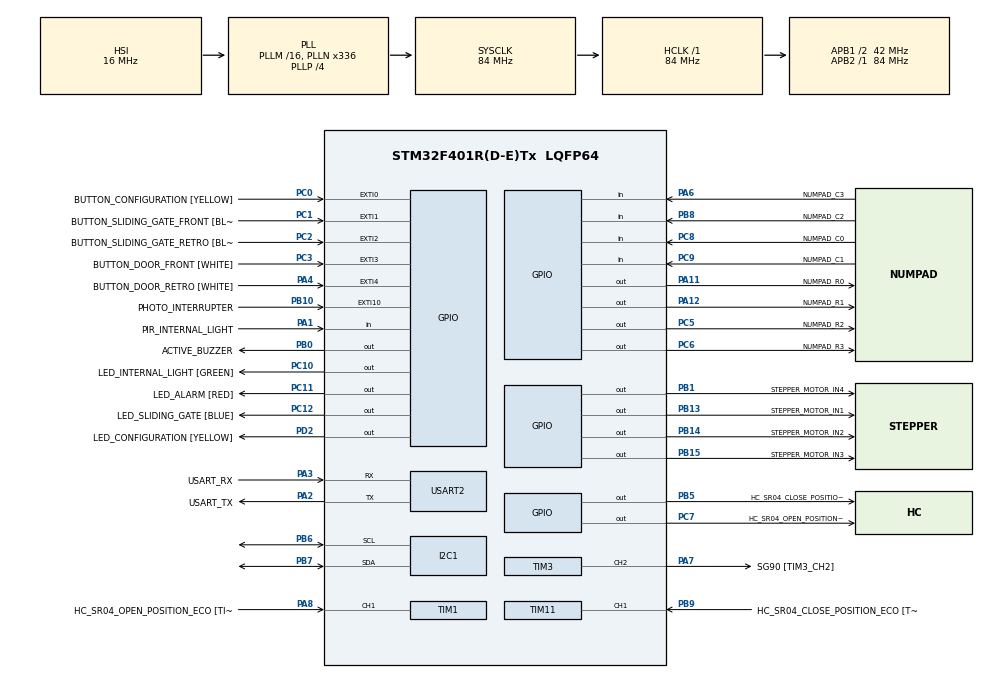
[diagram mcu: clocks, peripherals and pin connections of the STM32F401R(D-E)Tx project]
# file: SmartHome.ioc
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Mcu.Family=STM32F4
Mcu.Name=STM32F401R(D-E)Tx
Mcu.Package=LQFP64
NVIC.EXTI0_IRQn=true\:0\:0\:false\:false\:true\:true\:true\:true
NVIC.EXTI15_10_IRQn=true\:0\:0\:false\:false\:true\:true\:true\:true
NVIC.EXTI1_IRQn=true\:0\:0\:false\:false\:true\:true\:true\:true
NVIC.EXTI2_IRQn=true\:0\:0\:false\:false\:true\:true\:true\:true
NVIC.EXTI3_IRQn=true\:0\:0\:false\:false\:true\:true\:true\:true
NVIC.EXTI4_IRQn=true\:0\:0\:false\:false\:true\:true\:true\:true
NVIC.PriorityGroup=NVIC_PRIORITYGROUP_0
NVIC.TIM1_BRK_TIM9_IRQn=true\:0\:0\:false\:false\:true\:true\:true\:true
NVIC.TIM1_CC_IRQn=true\:0\:0\:false\:false\:true\:true\:true\:true
NVIC.TIM1_TRG_COM_TIM11_IRQn=true\:0\:0\:false\:false\:true\:true\:true\:true
NVIC.TIM1_UP_TIM10_IRQn=true\:0\:0\:false\:false\:true\:true\:true\:true
NVIC.TIM3_IRQn=true\:0\:0\:false\:false\:true\:true\:true\:true
NVIC.TIM4_IRQn=true\:0\:0\:false\:false\:true\:true\:true\:true
NVIC.TIM5_IRQn=true\:0\:0\:false\:false\:true\:true\:true\:true
NVIC.USART2_IRQn=true\:0\:0\:false\:false\:true\:true\:true\:true
PA1.GPIO_Label=PIR_INTERNAL_LIGHT
PA1.Signal=GPIO_Input
PA11.GPIO_Label=NUMPAD_R0
PA11.Signal=GPIO_Output
PA12.GPIO_Label=NUMPAD_R1
PA12.Signal=GPIO_Output
PA13.GPIO_Label=TMS
PA13.Mode=Serial_Wire
PA13.Signal=SYS_JTMS-SWDIO
PA14.GPIO_Label=TCK
PA14.Mode=Serial_Wire
PA14.Signal=SYS_JTCK-SWCLK
PA2.GPIO_Label=USART_TX
PA2.GPIO_Mode=GPIO_MODE_AF_PP
PA2.GPIO_PuPd=GPIO_NOPULL
PA2.GPIO_Speed=GPIO_SPEED_FREQ_LOW
PA2.Mode=Asynchronous
PA2.Signal=USART2_TX
PA3.GPIO_Label=USART_RX
PA3.GPIO_Mode=GPIO_MODE_AF_PP
PA3.GPIO_PuPd=GPIO_NOPULL
PA3.GPIO_Speed=GPIO_SPEED_FREQ_LOW
PA3.Mode=Asynchronous
PA3.Signal=USART2_RX
PA4.GPIO_Label=BUTTON_DOOR_RETRO [WHITE]
PA4.GPIO_PuPd=GPIO_PULLDOWN
PA4.Signal=GPXTI4
PA6.GPIO_Label=NUMPAD_C3
PA6.GPIO_PuPd=GPIO_PULLUP
PA6.Signal=GPIO_Input
PA7.GPIO_Label=SG90 [TIM3_CH2]
PA7.Signal=S_TIM3_CH2
PA8.GPIO_Label=HC_SR04_OPEN_POSITION_ECO [TIM1_CH1]
PA8.Signal=S_TIM1_CH1
PB0.GPIO_Label=ACTIVE_BUZZER
PB0.Signal=GPIO_Output
PB1.GPIO_Label=STEPPER_MOTOR_IN4
PB1.Signal=GPIO_Output
PB10.GPIO_Label=PHOTO_INTERRUPTER
PB10.Signal=GPXTI10
PB13.GPIO_Label=STEPPER_MOTOR_IN1
PB13.Signal=GPIO_Output
PB14.GPIO_Label=STEPPER_MOTOR_IN2
PB14.Signal=GPIO_Output
PB15.GPIO_Label=STEPPER_MOTOR_IN3
PB15.Signal=GPIO_Output
PB3.GPIO_Label=SWO
PB3.Signal=SYS_JTDO-SWO
PB5.GPIO_Label=HC_SR04_CLOSE_POSITION_TRIGGER
PB5.Signal=GPIO_Output
PB6.Mode=I2C
PB6.Signal=I2C1_SCL
PB7.Mode=I2C
PB7.Signal=I2C1_SDA
PB8.GPIO_Label=NUMPAD_C2
PB8.GPIO_PuPd=GPIO_PULLUP
PB8.Signal=GPIO_Input
PB9.GPIO_Label=HC_SR04_CLOSE_POSITION_ECO [TIM11_CH1]
PB9.Signal=S_TIM11_CH1
PC0.GPIO_Label=BUTTON_CONFIGURATION [YELLOW]
PC0.GPIO_PuPd=GPIO_PULLDOWN
PC0.Signal=GPXTI0
PC1.GPIO_Label=BUTTON_SLIDING_GATE_FRONT [BLUE]
PC1.GPIO_PuPd=GPIO_PULLDOWN
PC1.Signal=GPXTI1
PC10.GPIO_Label=LED_INTERNAL_LIGHT [GREEN]
PC10.Signal=GPIO_Output
PC11.GPIO_Label=LED_ALARM [RED]
PC11.Signal=GPIO_Output
PC12.GPIO_Label=LED_SLIDING_GATE [BLUE]
PC12.Signal=GPIO_Output
PC14-OSC32_IN.Mode=LSE-External-Oscillator
PC14-OSC32_IN.Signal=RCC_OSC32_IN
PC15-OSC32_OUT.Mode=LSE-External-Oscillator
PC15-OSC32_OUT.Signal=RCC_OSC32_OUT
PC2.GPIO_Label=BUTTON_SLIDING_GATE_RETRO [BLUE]
PC2.GPIO_PuPd=GPIO_PULLDOWN
PC2.Signal=GPXTI2
PC3.GPIO_Label=BUTTON_DOOR_FRONT [WHITE]
PC3.GPIO_PuPd=GPIO_PULLDOWN
PC3.Signal=GPXTI3
PC5.GPIO_Label=NUMPAD_R2
PC5.Signal=GPIO_Output
PC6.GPIO_Label=NUMPAD_R3
PC6.Signal=GPIO_Output
PC7.GPIO_Label=HC_SR04_OPEN_POSITION_TRIGGER
PC7.Signal=GPIO_Output
PC8.GPIO_Label=NUMPAD_C0
PC8.GPIO_PuPd=GPIO_PULLUP
PC8.Signal=GPIO_Input
PC9.GPIO_Label=NUMPAD_C1
PC9.GPIO_PuPd=GPIO_PULLUP
PC9.Signal=GPIO_Input
PD2.GPIO_Label=LED_CONFIGURATION [YELLOW]
PD2.Signal=GPIO_Output
PH0\ -\ OSC_IN.Mode=HSE-External-Clock-Source
PH0\ -\ OSC_IN.Signal=RCC_OSC_IN
PH1\ -\ OSC_OUT.Mode=HSE-External-Clock-Source
PH1\ -\ OSC_OUT.Signal=RCC_OSC_OUT
ProjectManager.HeapSize=0x200
ProjectManager.StackSize=0x400
ProjectManager.TargetToolchain=STM32CubeIDE
RCC.48MHZClocksFreq_Value=48000000
RCC.AHBFreq_Value=84000000
RCC.APB1CLKDivider=RCC_HCLK_DIV2
RCC.APB1Freq_Value=42000000
RCC.APB1TimFreq_Value=84000000
RCC.APB2Freq_Value=84000000
RCC.APB2TimFreq_Value=84000000
RCC.CortexFreq_Value=84000000
RCC.HCLKFreq_Value=84000000
RCC.HSE_VALUE=8000000
RCC.HSI_VALUE=16000000
RCC.PLLN=336
RCC.PLLP=RCC_PLLP_DIV4
RCC.PLLQ=7
RCC.RCC_RTC_Clock_Source=RCC_RTCCLKSOURCE_LSI
RCC.RCC_RTC_Clock_SourceVirtual=RCC_RTCCLKSOURCE_LSI
RCC.SYSCLKFreq_VALUE=84000000
RCC.SYSCLKSource=RCC_SYSCLKSOURCE_PLLCLK
RCC.VCOOutputFreq_Value=336000000
SH.S_TIM11_CH1.0=TIM11_CH1,Input_Capture1_from_TI1
SH.S_TIM1_CH1.0=TIM1_CH1,Input_Capture1_from_TI1
SH.S_TIM3_CH2.0=TIM3_CH2,PWM Generation2 CH2
TIM1.Channel-Input_Capture1_from_TI1=TIM_CHANNEL_1
TIM1.Prescaler=84-1
TIM10.Period=60000-1
TIM10.Prescaler=8400-1
TIM11.Channel=TIM_CHANNEL_1
TIM11.Prescaler=84-1
TIM3.Channel-PWM\ Generation2\ CH2=TIM_CHANNEL_2
TIM3.Period=20000-1
TIM3.Prescaler=84-1
TIM4.Period=60000-1
TIM4.Prescaler=8400-1
TIM5.Period=10000000-1
TIM5.Prescaler=84-1
TIM9.Period=1220-1
TIM9.Prescaler=84-1
USART2.VirtualMode=VM_ASYNC
VP_TIM10_VS_ClockSourceINT.Mode=Enable_Timer
VP_TIM11_VS_ClockSourceINT.Mode=Enable_Timer
VP_TIM1_VS_ClockSourceINT.Mode=Internal
VP_TIM4_VS_ClockSourceINT.Mode=Internal
VP_TIM5_VS_ClockSourceINT.Mode=Internal
VP_TIM9_VS_ClockSourceINT.Mode=Internal
board=NUCLEO-F401RE

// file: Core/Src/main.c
/* USER CODE BEGIN Header */
/**
 ******************************************************************************
 * @file           : main.c
 * @brief          : Main program body
 ******************************************************************************
 * @attention
 *
 * Copyright (c) 2023 STMicroelectronics.
 * All rights reserved.
 *
 * This software is licensed under terms that can be found in the LICENSE file
 * in the root directory of this software component.
 * If no LICENSE file comes with this software, it is provided AS-IS.
 *
 ******************************************************************************
 */
/* USER CODE END Header */
#include "main.h"

/* USER CODE BEGIN Includes */
#include "i2c-lcd.h"
#include "KeyPad.h"
#include <string.h>
#include <stdio.h>
/* USER CODE END Includes */

I2C_HandleTypeDef hi2c1;

TIM_HandleTypeDef htim1;
TIM_HandleTypeDef htim3;
TIM_HandleTypeDef htim4;
TIM_HandleTypeDef htim5;
TIM_HandleTypeDef htim9;
TIM_HandleTypeDef htim10;
TIM_HandleTypeDef htim11;

UART_HandleTypeDef huart2;

/* USER CODE BEGIN PV */
//hi2c1 --> i2c display
//htim1 (ch1) --> ic hcsr04 apertura
//htim3 (ch2) --> pwm servo motore
//htim4 --> timer cancello
//htim5 --> timer luce interna
//htim9 --> timer motore stepper
//htim10 --> timer porta
//htim11 (ch1) --> ic hcsr04 chiusura

/* VARIABILI NUMERICHE */
/* TIMER */
#define FROM_SECOND_TO_MICROSECOND 1000000
#define FROM_SECOND_TO_DECIMILLISECOND 10000
#define AUTORELOAD_SERVO_MOTOR 500 //(dms)
#define PERIOD_DISPLAY_INATTIVO 500 //(ms)
#define PERIOD_DISPLAY_CONFIGURAZIONE 2000 //(ms)
int time_open_sliding_gate = 6;	//s
int time_open_door = 6;	//s
int time_on_internal_light = 10;	//s
uint32_t start_timer_display = 0;

//NUMPAD
#define password_length 4
char password[] = {'1', '5', '9', 'D'};
char password_inserita[password_length];
int index_password_inserita = 0;
#define data_lenght 2
char configurazione_inserita[data_lenght];
char single_configuration;
int index_configurazione_inserita = 0;

//SLIDING GATE
int stepsperrev;
int numofsequence;
float angleperseq;
float angle;
int rpm;
int numberofsequences;
int seq;
int step;
int direction;

//HCSR04
uint32_t ic_val1_close_position = 0;
uint32_t ic_val2_close_position = 0;
uint8_t is_first_captured_close_position = 0;
uint8_t distance_close_position = 7;
uint32_t ic_val1_open_position = 0;
uint32_t ic_val2_open_position = 0;
uint8_t is_first_captured_open_position = 0;
uint8_t distance_open_position = 7;

/* VARIABILI DI STATO */
//NUMPAD
typedef enum {
	INATTIVO,
	CONFIGURAZIONE,
	ALLARME,
	CONFIGURAZIONE_CANCELLO,
	CONFIGURAZIONE_LUCE,
	CONFIGURAZIONE_PORTA,
	END_CONFIGURAZIONE
} numpad_state;
numpad_state numpad = INATTIVO;

//LED
typedef enum {
	SPENTO,
	ACCESO
} led_state;
led_state internal_light = SPENTO;

//ALARM
typedef enum {
	ALARM_SPENTO,
	ALARM_DISATTIVO,
	ALARM_ATTIVO
} alarm_state;
alarm_state alarm = ALARM_DISATTIVO;

//DOOR
typedef enum {
	SERVO_CHIUSO,
	SERVO_APERTURA,
	SERVO_APERTO,
	SERVO_CHIUSURA
} door_state;
door_state door = SERVO_CHIUSO;

//SLIDING GATE
typedef enum {
	CHIUSO,
	IN_APERTURA,
	APERTO,
	IN_CHIUSURA
} sliding_gate_state;
sliding_gate_state sliding_gate = CHIUSO;

//HCSR04
typedef enum {
	DELAY,
	MISURA
} hc_sr04_state;
hc_sr04_state hc_sr04_close_position = DELAY;
hc_sr04_state hc_sr04_open_position = DELAY;

typedef enum {
	SETUP,
	TIMER
}timer_state;
timer_state timer_1 = SETUP;
timer_state timer_4 = SETUP;
timer_state timer_5 = SETUP;
timer_state timer_9 = SETUP;
timer_state timer_10 = SETUP;
timer_state timer_11 = SETUP;

/* VARIABILI UART */
//numero di byte scambiati per pacchetto
#define num_byte 7

//char inviati
#define sof 'a'
#define eof 'r'
#define padding 's'

#define get_info 'b'
#define send_value 'c'
#define set_parameter 'd'

#define cancello 'e'
#define luce_interna 'g'
#define porta 'i'
#define allarme 'j'
#define configurazione_cancello 'l'
#define configurazione_luce_interna 'n'
#define configurazione_porta 'o'

typedef enum {
	IN_ATTESA_SOF,
	IN_ATTESA_OPERAZIONE,
	IN_ATTESA_IDENTIFICATIVO,
	IN_ATTESA_VALORE_1,
	IN_ATTESA_VALORE_2,
	IN_ATTESA_VALORE_3,
	IN_ATTESA_EOF
} uart_state;
uart_state uart = IN_ATTESA_SOF;

char send_byte[num_byte];
char receive_byte[num_byte];
int index_byte = 0;

uint8_t data_received;
/* USER CODE END PV */

void SystemClock_Config(void);
static void MX_GPIO_Init(void);
static void MX_USART2_UART_Init(void);
static void MX_I2C1_Init(void);
static void MX_TIM1_Init(void);
static void MX_TIM3_Init(void);
static void MX_TIM4_Init(void);
static void MX_TIM5_Init(void);
static void MX_TIM9_Init(void);
static void MX_TIM10_Init(void);
static void MX_TIM11_Init(void);
/* USER CODE BEGIN PFP */
/* INIZIALIZZAZIONE */
void init_peripherals();
void init_lcd();
void init_keypad();
void init_step_motor();
/* DISPLAY */
void set_display_configuration();
void set_display_state();
/* NUMPAD */
void read_keypad();
void keypad_alarm();
void keypad_configuration();
void keypad_sliding_gate();
void keypad_internal_light();
void keypad_door();
void switch_to_inattivo();
/* ELABORAZIONE */
void open_door();
void process_door();
void stepper_half_drive (int actual_step);
void HCSR04_Read (GPIO_TypeDef* GPIOx, uint16_t GPIO_Pin);
void open_sliding_gate();
void close_sliding_gate();
void stop_sliding_gate();
void start_closing_sliding_gate();
void change_direction_sliding_gate();
void start_sampling_hcsr04(TIM_HandleTypeDef* htim);
void led_on();
void led_off();
void alarm_on();
void alarm_off();
/* TIMER */
void start_timer(TIM_HandleTypeDef* htim);
void stop_timer(TIM_HandleTypeDef* htim);
void set_autoreload(TIM_HandleTypeDef* htim, uint32_t autoreload);
void change_autoreload_timer_start(TIM_HandleTypeDef* htim, uint32_t autoreload);
void set_pwm(TIM_HandleTypeDef* htim, int update, uint32_t pwm);
/* UART */
void prepare_data_sliding_gate(char operazione);
void prepare_data_internal_light(char operazione);
void prepare_data_door(char operazione);
void prepare_data_alarm(char operazione);
void prepare_data_configuration_sliding_gate(char operazione);
void prepare_data_configuration_internal_light(char operazione);
void prepare_data_configuration_door(char operazione);
void send_data();
int process_data(char c);
/* USER CODE END PFP */

/* USER CODE BEGIN 0 */
void set_display_configuration() {
	lcd_clear();
	lcd_put_cur(0, 0);
	lcd_send_string("C:1 L:2 P:3 A:4");
	lcd_put_cur(1, 0);
	lcd_send_string("ESC:7");
	HAL_GPIO_WritePin(LED_CONFIGURATION_GPIO_Port, LED_CONFIGURATION_Pin, GPIO_PIN_SET);
}

void set_display_state() {
	lcd_clear();
	lcd_put_cur(0, 0);
	lcd_send_string("C:");
	switch(sliding_gate){
	case SPENTO:
		lcd_send_data('0');
		break;
	case ACCESO:
		lcd_send_data('1');
		break;
	case APERTO:
		lcd_send_data('2');
		break;
	case IN_CHIUSURA:
		lcd_send_data('3');
		break;
	}
	lcd_send_string(" P:");
	switch(door){
	case SERVO_CHIUSO:
		lcd_send_data('0');
		break;
	case SERVO_APERTO:
		lcd_send_data('1');
		break;
	case SERVO_APERTURA:
	case SERVO_CHIUSURA:
		break;
	}
	lcd_send_string(" A:");
	switch(alarm){
	case ALARM_SPENTO:
		lcd_send_data('0');
		break;
	case ALARM_DISATTIVO:
		lcd_send_data('1');
		break;
	case ALARM_ATTIVO:
		lcd_send_data('2');
		break;
	}
	lcd_put_cur(1, 0);
	lcd_send_string("L:");
	switch(internal_light){
	case SPENTO:
		lcd_send_data('0');
		break;
	case ACCESO:
		lcd_send_data('1');
		break;
	}
}

void read_keypad() {
	switch(numpad) {
	case ALLARME:
		keypad_alarm();
		break;
	case CONFIGURAZIONE:
		keypad_configuration();
		break;
	case CONFIGURAZIONE_CANCELLO:
		keypad_sliding_gate();
		break;
	case CONFIGURAZIONE_LUCE:
		keypad_internal_light();
		break;
	case CONFIGURAZIONE_PORTA:
		keypad_door();
		break;
	case INATTIVO:
	case END_CONFIGURAZIONE:
		break;
	}
}

void keypad_alarm() {
	lcd_clear();
	lcd_put_cur(0, 0);
	lcd_send_string("PIN: ");
	for (int i = 0; i < index_password_inserita; i++) {
		lcd_send_data('*');
	}
	char c = KeyPad_WaitForKeyGetChar(0);
	if (c != 0) {
		if (numpad == ALLARME) {
			lcd_send_data(c);
			if (index_password_inserita < password_length) {
				password_inserita[index_password_inserita] = c;
				index_password_inserita++;
			}
			if (index_password_inserita == password_length) {
				if (strncmp(password, password_inserita, password_length) == 0) {
					if (alarm == ALARM_ATTIVO || alarm == ALARM_DISATTIVO) {
						alarm_off();
					} else {
						if (alarm == ALARM_SPENTO) {
							alarm_on();
						}
					}
					switch_to_inattivo();
				}
				for (int i = 0; i < password_length; i++) {
					password_inserita[i] = '\0';
				}
				index_password_inserita = 0;
			}
		}
	}
}

void keypad_configuration() {
	char c = KeyPad_WaitForKeyGetChar(0);
	switch (c) {
	case '1':
		numpad = CONFIGURAZIONE_CANCELLO;
		lcd_clear();
		lcd_put_cur(0, 0);
		lcd_send_string("1 - 6 s: ");
		lcd_put_cur(1, 0);
		break;
	case '2':
		numpad = CONFIGURAZIONE_LUCE;
		lcd_clear();
		lcd_put_cur(0, 0);
		lcd_send_string("10 - 60 s: ");
		lcd_put_cur(1, 0);
		break;
	case '3':
		numpad = CONFIGURAZIONE_PORTA;
		lcd_clear();
		lcd_put_cur(0, 0);
		lcd_send_string("1 - 6 s: ");
		lcd_put_cur(1, 0);
		break;
	case '4':
		numpad = ALLARME;
		lcd_clear();
		lcd_put_cur(0, 0);
		lcd_send_string("PIN: ");
		break;
	case '5':
		switch_to_inattivo();
	}
}

void keypad_sliding_gate() {
	char c = KeyPad_WaitForKeyGetChar(0);
	if (c != 0) {
		if (c >= '1' && c <= '6') {
			time_open_sliding_gate = c - '0';
			set_autoreload(&htim4, time_open_sliding_gate * FROM_SECOND_TO_DECIMILLISECOND);
			lcd_clear();
			lcd_put_cur(0, 0);
			lcd_send_string("C_N: ");
			lcd_send_data(c);
			numpad = END_CONFIGURAZIONE;
			start_timer_display = HAL_GetTick();
			prepare_data_configuration_sliding_gate(set_parameter);
		} else {
			switch_to_inattivo();
		}
	}
}

void keypad_internal_light() {
	char c = KeyPad_WaitForKeyGetChar(0);
	if (c != 0) {
		lcd_send_data(c);
		if (index_configurazione_inserita < data_lenght) {
			configurazione_inserita[index_configurazione_inserita] = c;
			index_configurazione_inserita++;
		}
		if (index_configurazione_inserita == 2) {
			if (configurazione_inserita[0] >= '1' && configurazione_inserita[0] <= '5') {
				if (configurazione_inserita[1] >= '0' && configurazione_inserita[1] <= '9') {
					time_on_internal_light = (configurazione_inserita[0] - '0') * 10 + (configurazione_inserita[1] - '0');
					set_autoreload(&htim5, time_on_internal_light * FROM_SECOND_TO_MICROSECOND);
					lcd_clear();
					lcd_put_cur(0, 0);
					lcd_send_string("L_N: ");
					lcd_send_data(configurazione_inserita[0]);
					lcd_send_data(configurazione_inserita[1]);
					numpad = END_CONFIGURAZIONE;
					start_timer_display = HAL_GetTick();
					prepare_data_configuration_internal_light(set_parameter);
				} else {
					switch_to_inattivo();
				}
			} else {
				if (configurazione_inserita[0] == '6') {
					if (configurazione_inserita[1] == '0') {
						time_on_internal_light = (configurazione_inserita[0] - '0') * 10 + (configurazione_inserita[1] - '0');
						set_autoreload(&htim5, time_on_internal_light * FROM_SECOND_TO_MICROSECOND);
						lcd_clear();
						lcd_put_cur(0, 0);
						lcd_send_string("L_N: ");
						lcd_send_data(configurazione_inserita[0]);
						lcd_send_data(configurazione_inserita[1]);
						numpad = END_CONFIGURAZIONE;
						start_timer_display = HAL_GetTick();
						prepare_data_configuration_internal_light(set_parameter);
					} else {
						switch_to_inattivo();
					}
				} else {
					switch_to_inattivo();
				}
			}
			for (int i = 0; i < data_lenght; i++) {
				configurazione_inserita[i] = '\0';
			}
			index_configurazione_inserita = 0;
		}
	}
}

void keypad_door() {
	char c = KeyPad_WaitForKeyGetChar(0);
	if (c != 0) {
		if (c >= '1' && c <= '6') {
			time_open_door = c - '0';
			lcd_clear();
			lcd_put_cur(0, 0);
			lcd_send_string("P_N: ");
			lcd_send_data(c);
			numpad = END_CONFIGURAZIONE;
			start_timer_display = HAL_GetTick();
			prepare_data_configuration_door(set_parameter);
		} else {
			switch_to_inattivo();
		}
	}
}

void switch_to_inattivo() {
	numpad = INATTIVO;
	lcd_clear();
	lcd_put_cur(0, 0);
	HAL_GPIO_WritePin(LED_CONFIGURATION_GPIO_Port, LED_CONFIGURATION_Pin, GPIO_PIN_RESET);
}

void open_door() {
	if (door == SERVO_CHIUSO) {
		door = SERVO_APERTURA;
		start_timer(&htim3);
		set_pwm(&htim3, 0, 750);
		set_autoreload(&htim10, AUTORELOAD_SERVO_MOTOR);
		start_timer(&htim10);
	}
}

void process_door() {
	if (door == SERVO_APERTURA) {
		if (htim3.Instance->CCR2 == 1500) {
			door = SERVO_APERTO;
			change_autoreload_timer_start(&htim10, time_open_door * FROM_SECOND_TO_DECIMILLISECOND);
			prepare_data_door(send_value);
		} else {
			set_pwm(&htim3, 1, 250);
		}
	} else {
		if (door == SERVO_APERTO) {
			door = SERVO_CHIUSURA;
			change_autoreload_timer_start(&htim10, AUTORELOAD_SERVO_MOTOR);
			set_pwm(&htim3, 0, 1250);
		} else {
			if (door == SERVO_CHIUSURA) {
				if (htim3.Instance->CCR2 == 500) {
					stop_timer(&htim3);
					stop_timer(&htim10);
					door = SERVO_CHIUSO;
					prepare_data_door(send_value);
				} else {
					set_pwm(&htim3, 1, -250);
				}
			}
		}
	}
}

void stepper_half_drive (int actual_step) {
	switch (actual_step){
	case 0:
		HAL_GPIO_WritePin(STEPPER_MOTOR_IN1_GPIO_Port, STEPPER_MOTOR_IN1_Pin, GPIO_PIN_SET);   // IN1
		HAL_GPIO_WritePin(STEPPER_MOTOR_IN2_GPIO_Port, STEPPER_MOTOR_IN2_Pin, GPIO_PIN_RESET);   // IN2
		HAL_GPIO_WritePin(STEPPER_MOTOR_IN3_GPIO_Port, STEPPER_MOTOR_IN3_Pin, GPIO_PIN_RESET);   // IN3
		HAL_GPIO_WritePin(STEPPER_MOTOR_IN4_GPIO_Port, STEPPER_MOTOR_IN4_Pin, GPIO_PIN_RESET);   // IN4
		break;

	case 1:
		HAL_GPIO_WritePin(STEPPER_MOTOR_IN1_GPIO_Port, STEPPER_MOTOR_IN1_Pin, GPIO_PIN_SET);   // IN1
		HAL_GPIO_WritePin(STEPPER_MOTOR_IN2_GPIO_Port, STEPPER_MOTOR_IN2_Pin, GPIO_PIN_SET);   // IN2
		HAL_GPIO_WritePin(STEPPER_MOTOR_IN3_GPIO_Port, STEPPER_MOTOR_IN3_Pin, GPIO_PIN_RESET);   // IN3
		HAL_GPIO_WritePin(STEPPER_MOTOR_IN4_GPIO_Port, STEPPER_MOTOR_IN4_Pin, GPIO_PIN_RESET);   // IN4
		break;

	case 2:
		HAL_GPIO_WritePin(STEPPER_MOTOR_IN1_GPIO_Port, STEPPER_MOTOR_IN1_Pin, GPIO_PIN_RESET);   // IN1
		HAL_GPIO_WritePin(STEPPER_MOTOR_IN2_GPIO_Port, STEPPER_MOTOR_IN2_Pin, GPIO_PIN_SET);   // IN2
		HAL_GPIO_WritePin(STEPPER_MOTOR_IN3_GPIO_Port, STEPPER_MOTOR_IN3_Pin, GPIO_PIN_RESET);   // IN3
		HAL_GPIO_WritePin(STEPPER_MOTOR_IN4_GPIO_Port, STEPPER_MOTOR_IN4_Pin, GPIO_PIN_RESET);   // IN4
		break;

	case 3:
		HAL_GPIO_WritePin(STEPPER_MOTOR_IN1_GPIO_Port, STEPPER_MOTOR_IN1_Pin, GPIO_PIN_RESET);   // IN1
		HAL_GPIO_WritePin(STEPPER_MOTOR_IN2_GPIO_Port, STEPPER_MOTOR_IN2_Pin, GPIO_PIN_SET);   // IN2
		HAL_GPIO_WritePin(STEPPER_MOTOR_IN3_GPIO_Port, STEPPER_MOTOR_IN3_Pin, GPIO_PIN_SET);   // IN3
		HAL_GPIO_WritePin(STEPPER_MOTOR_IN4_GPIO_Port, STEPPER_MOTOR_IN4_Pin, GPIO_PIN_RESET);   // IN4
		break;

	case 4:
		HAL_GPIO_WritePin(STEPPER_MOTOR_IN1_GPIO_Port, STEPPER_MOTOR_IN1_Pin, GPIO_PIN_RESET);   // IN1
		HAL_GPIO_WritePin(STEPPER_MOTOR_IN2_GPIO_Port, STEPPER_MOTOR_IN2_Pin, GPIO_PIN_RESET);   // IN2
		HAL_GPIO_WritePin(STEPPER_MOTOR_IN3_GPIO_Port, STEPPER_MOTOR_IN3_Pin, GPIO_PIN_SET);   // IN3
		HAL_GPIO_WritePin(STEPPER_MOTOR_IN4_GPIO_Port, STEPPER_MOTOR_IN4_Pin, GPIO_PIN_RESET);   // IN4
		break;

	case 5:
		HAL_GPIO_WritePin(STEPPER_MOTOR_IN1_GPIO_Port, STEPPER_MOTOR_IN1_Pin, GPIO_PIN_RESET);   // IN1
		HAL_GPIO_WritePin(STEPPER_MOTOR_IN2_GPIO_Port, STEPPER_MOTOR_IN2_Pin, GPIO_PIN_RESET);   // IN2
		HAL_GPIO_WritePin(STEPPER_MOTOR_IN3_GPIO_Port, STEPPER_MOTOR_IN3_Pin, GPIO_PIN_SET);   // IN3
		HAL_GPIO_WritePin(STEPPER_MOTOR_IN4_GPIO_Port, STEPPER_MOTOR_IN4_Pin, GPIO_PIN_SET);   // IN4
		break;

	case 6:
		HAL_GPIO_WritePin(STEPPER_MOTOR_IN1_GPIO_Port, STEPPER_MOTOR_IN1_Pin, GPIO_PIN_RESET);   // IN1
		HAL_GPIO_WritePin(STEPPER_MOTOR_IN2_GPIO_Port, STEPPER_MOTOR_IN2_Pin, GPIO_PIN_RESET);   // IN2
		HAL_GPIO_WritePin(STEPPER_MOTOR_IN3_GPIO_Port, STEPPER_MOTOR_IN3_Pin, GPIO_PIN_RESET);   // IN3
		HAL_GPIO_WritePin(STEPPER_MOTOR_IN4_GPIO_Port, STEPPER_MOTOR_IN4_Pin, GPIO_PIN_SET);   // IN4
		break;

	case 7:
		HAL_GPIO_WritePin(STEPPER_MOTOR_IN1_GPIO_Port, STEPPER_MOTOR_IN1_Pin, GPIO_PIN_SET);   // IN1
		HAL_GPIO_WritePin(STEPPER_MOTOR_IN2_GPIO_Port, STEPPER_MOTOR_IN2_Pin, GPIO_PIN_RESET);   // IN2
		HAL_GPIO_WritePin(STEPPER_MOTOR_IN3_GPIO_Port, STEPPER_MOTOR_IN3_Pin, GPIO_PIN_RESET);   // IN3
		HAL_GPIO_WritePin(STEPPER_MOTOR_IN4_GPIO_Port, STEPPER_MOTOR_IN4_Pin, GPIO_PIN_SET);   // IN4
		break;
	}
	step += direction;
	if (direction == -1) {
		if (step == -1) {
			step = 7;
			seq++;
			if (seq == numberofsequences) {
				seq = 0;
			}
		}
	} else {
		if (direction == 1) {
			if (step == 8) {
				step = 0;
				seq++;
				if (seq == numberofsequences) {
					seq = 0;
				}
			}
		}
	}
}

void HCSR04_Read (GPIO_TypeDef* GPIOx, uint16_t GPIO_Pin)
{
	if (GPIOx == HC_SR04_CLOSE_POSITION_TRIGGER_GPIO_Port &&
			GPIO_Pin == HC_SR04_CLOSE_POSITION_TRIGGER_Pin) {
		HAL_GPIO_WritePin(HC_SR04_CLOSE_POSITION_TRIGGER_GPIO_Port, HC_SR04_CLOSE_POSITION_TRIGGER_Pin, GPIO_PIN_SET);  // pull the TRIG pin HIGH
		change_autoreload_timer_start(&htim1, 10);
	} else {
		if (GPIOx == HC_SR04_OPEN_POSITION_TRIGGER_GPIO_Port &&
				GPIO_Pin == HC_SR04_OPEN_POSITION_TRIGGER_Pin) {
			HAL_GPIO_WritePin(HC_SR04_OPEN_POSITION_TRIGGER_GPIO_Port, HC_SR04_OPEN_POSITION_TRIGGER_Pin, GPIO_PIN_SET);  // pull the TRIG pin HIGH
			change_autoreload_timer_start(&htim1, 10);
		}
	}
}

void open_sliding_gate() {
	if (sliding_gate == CHIUSO) {
		sliding_gate = IN_APERTURA;
		prepare_data_sliding_gate(send_value);
		HAL_GPIO_WritePin(LED_SLIDING_GATE_GPIO_Port, LED_SLIDING_GATE_Pin, GPIO_PIN_SET);
		step = 7;
		seq = 0;
		direction = -1;
		__HAL_TIM_SET_COUNTER(&htim9, 0);
		HAL_TIM_Base_Start_IT(&htim9);
		start_timer(&htim1);
		HCSR04_Read(HC_SR04_OPEN_POSITION_TRIGGER_GPIO_Port, HC_SR04_OPEN_POSITION_TRIGGER_Pin);
	}
}

void close_sliding_gate() {
	sliding_gate = APERTO;
	prepare_data_sliding_gate(send_value);
	stop_timer(&htim9);
	stop_timer(&htim1);
	hc_sr04_open_position = DELAY;
	start_timer(&htim4);
}

void stop_sliding_gate() {
	sliding_gate = CHIUSO;
	prepare_data_sliding_gate(send_value);
	stop_timer(&htim9);
	stop_timer(&htim11);
	hc_sr04_close_position = DELAY;
	HAL_GPIO_WritePin(LED_SLIDING_GATE_GPIO_Port, LED_SLIDING_GATE_Pin, GPIO_PIN_RESET);
}

void start_closing_sliding_gate() {
	sliding_gate = IN_CHIUSURA;
	prepare_data_sliding_gate(send_value);
	stop_timer(&htim4);
	step = 0;
	seq = 0;
	direction = 1;
	start_timer(&htim9);
	start_timer (&htim11);
	HCSR04_Read(HC_SR04_CLOSE_POSITION_TRIGGER_GPIO_Port, HC_SR04_CLOSE_POSITION_TRIGGER_Pin);
}

void change_direction_sliding_gate() {
	if (sliding_gate == IN_CHIUSURA) {
		sliding_gate = IN_APERTURA;
		prepare_data_sliding_gate(send_value);
		direction = -1;
		stop_timer(&htim11);
		hc_sr04_close_position = DELAY;
		start_timer(&htim1);
		HCSR04_Read(HC_SR04_OPEN_POSITION_TRIGGER_GPIO_Port, HC_SR04_OPEN_POSITION_TRIGGER_Pin);
	}
}

void start_sampling_hcsr04(TIM_HandleTypeDef* htim) {
	if (htim == &htim1) {
		if (hc_sr04_open_position == DELAY) {
			HAL_GPIO_WritePin(HC_SR04_OPEN_POSITION_TRIGGER_GPIO_Port, HC_SR04_OPEN_POSITION_TRIGGER_Pin, GPIO_PIN_RESET);
			__HAL_TIM_ENABLE_IT(&htim1, TIM_IT_CC1);
			change_autoreload_timer_start(&htim1, 0xffff-1);
			hc_sr04_open_position = MISURA;
		}
	} else {
		if (htim == &htim11) {
			if (hc_sr04_close_position == DELAY) {
				HAL_GPIO_WritePin(HC_SR04_CLOSE_POSITION_TRIGGER_GPIO_Port, HC_SR04_CLOSE_POSITION_TRIGGER_Pin, GPIO_PIN_RESET);
				__HAL_TIM_ENABLE_IT(&htim11, TIM_IT_CC1);
				change_autoreload_timer_start(&htim11, 0xffff-1);
				hc_sr04_close_position = MISURA;
			}
		}
	}
}

void led_on() {
	HAL_GPIO_WritePin(LED_INTERNAL_LIGHT_GPIO_Port, LED_INTERNAL_LIGHT_Pin, GPIO_PIN_SET);
	if (internal_light == SPENTO) {
		internal_light = ACCESO;
		prepare_data_internal_light(send_value);
		start_timer(&htim5);
	}
}

void led_off() {
	stop_timer(&htim5);
	HAL_GPIO_WritePin(LED_INTERNAL_LIGHT_GPIO_Port, LED_INTERNAL_LIGHT_Pin, GPIO_PIN_RESET);
	internal_light = SPENTO;
	prepare_data_internal_light(send_value);
}

void alarm_on() {
	alarm = ALARM_DISATTIVO;
	prepare_data_alarm(send_value);
	HAL_GPIO_WritePin(LED_ALARM_GPIO_Port, LED_ALARM_Pin, GPIO_PIN_SET);
}

void alarm_off() {
	alarm = SPENTO;
	prepare_data_alarm(send_value);
	HAL_GPIO_WritePin(ACTIVE_BUZZER_GPIO_Port, ACTIVE_BUZZER_Pin, GPIO_PIN_RESET);
	HAL_GPIO_WritePin(LED_ALARM_GPIO_Port, LED_ALARM_Pin, GPIO_PIN_RESET);
}

void start_timer(TIM_HandleTypeDef* htim) {
	if (htim == &htim3) {
		__HAL_TIM_SET_COUNTER(htim, 0);
		HAL_TIM_PWM_Start(htim, TIM_CHANNEL_2);
	} else {
		if (htim == &htim10 || htim == &htim5 || htim == &htim9 || htim == &htim4) {
			__HAL_TIM_SET_COUNTER(htim, 0);
			HAL_TIM_Base_Start_IT(htim);
		} else {
			if (htim == &htim1 || htim == &htim11) {
				HAL_TIM_Base_Start_IT(htim);
				HAL_TIM_IC_Start_IT(htim, TIM_CHANNEL_1);
			}
		}
	}
}

void stop_timer(TIM_HandleTypeDef* htim) {
	if (htim == &htim3) {
		HAL_TIM_PWM_Stop(htim, TIM_CHANNEL_2);
		__HAL_TIM_SET_COUNTER(htim, 0);
	} else {
		if (htim == &htim10 || htim == &htim5 || htim == &htim9 || htim == &htim4) {
			HAL_TIM_Base_Stop_IT(htim);
			__HAL_TIM_SET_COUNTER(htim, 0);
		} else {
			if (htim == &htim1 || htim == &htim11) {
				HAL_TIM_IC_Stop_IT(htim, TIM_CHANNEL_1);
				HAL_TIM_Base_Stop_IT(htim);
				__HAL_TIM_SET_COUNTER(htim, 0);
			}
		}
	}

}

void set_autoreload(TIM_HandleTypeDef* htim, uint32_t autoreload) {
	__HAL_TIM_SET_AUTORELOAD(htim, autoreload);
}

void change_autoreload_timer_start(TIM_HandleTypeDef* htim, uint32_t autoreload) {
	set_autoreload(htim, autoreload);
	__HAL_TIM_SET_COUNTER(htim, 0);
}

void set_pwm(TIM_HandleTypeDef* htim, int update, uint32_t pwm) {
	if (htim == &htim3) {
		if (update == 1) {
			htim->Instance->CCR2 += pwm;
		} else {
			if (update == 0) {
				htim->Instance->CCR2 = pwm;
			}
		}
	}
}

void prepare_data_sliding_gate(char operazione) {
	send_byte[0] = sof;
	send_byte[1] = operazione;
	send_byte[2] = cancello;
	if (sliding_gate == CHIUSO) {
		send_byte[3] = '0';
	} else {
		if (sliding_gate == IN_APERTURA) {
			send_byte[3] = '1';
		} else {
			if (sliding_gate == APERTO) {
				send_byte[3] = '2';
			} else {
				if (sliding_gate == IN_CHIUSURA) {
					send_byte[3] = '3';
				}
			}
		}
	}
	send_byte[4] = padding;
	send_byte[5] = padding;
	send_byte[6] = eof;

	send_data();
}

void prepare_data_internal_light(char operazione) {
	send_byte[0] = sof;
	send_byte[1] = operazione;
	send_byte[2] = luce_interna;
	if (internal_light == SPENTO) {
		send_byte[3] = '0';
	} else {
		if (internal_light == ACCESO) {
			send_byte[3] = '1';
		}
	}
	send_byte[4] = padding;
	send_byte[5] = padding;
	send_byte[6] = eof;

	send_data();
}

void prepare_data_door(char operazione) {
	send_byte[0] = sof;
	send_byte[1] = operazione;
	send_byte[2] = porta;
	if (door == SERVO_CHIUSO) {
		send_byte[3] = '0';
	} else {
		if (door == SERVO_APERTO) {
			send_byte[3] = '1';
		}
	}
	send_byte[4] = padding;
	send_byte[5] = padding;
	send_byte[6] = eof;

	send_data();
}

void prepare_data_alarm(char operazione) {
	send_byte[0] = sof;
	send_byte[1] = operazione;
	send_byte[2] = allarme;
	if (alarm == ALARM_SPENTO) {
		send_byte[3] = '0';
	} else {
		if (alarm == ALARM_DISATTIVO) {
			send_byte[3] = '1';
		} else {
			if (alarm == ALARM_ATTIVO) {
				send_byte[3] = '2';
			}
		}
	}
	send_byte[4] = padding;
	send_byte[5] = padding;
	send_byte[6] = eof;

	send_data();
}

void prepare_data_configuration_sliding_gate(char operazione) {
	send_byte[0] = sof;
	send_byte[1] = operazione;
	send_byte[2] = configurazione_cancello;
	send_byte[3] = time_open_sliding_gate + '0';
	send_byte[4] = padding;
	send_byte[5] = padding;
	send_byte[6] = eof;

	send_data();
}

void prepare_data_configuration_internal_light(char operazione) {
	send_byte[0] = sof;
	send_byte[1] = operazione;
	send_byte[2] = configurazione_luce_interna;
	send_byte[3] = (time_on_internal_light / 10) + '0';
	send_byte[4] = (time_on_internal_light - (time_on_internal_light / 10) * 10) + '0';
	send_byte[5] = padding;
	send_byte[6] = eof;

	send_data();
}

void prepare_data_configuration_door(char operazione) {
	send_byte[0] = sof;
	send_byte[1] = operazione;
	send_byte[2] = configurazione_porta;
	send_byte[3] = time_open_door + '0';
	send_byte[4] = padding;
	send_byte[5] = padding;
	send_byte[6] = eof;

	send_data();
}

void send_data() {
	HAL_UART_Transmit(&huart2, send_byte, num_byte, 1000);
}

int process_data(char c) {
	int ok = false;
	switch(uart) {
	case IN_ATTESA_SOF:
		if (c == sof) {
			uart = IN_ATTESA_OPERAZIONE;
			ok = true;
		}
		break;
	case IN_ATTESA_OPERAZIONE:
		if (c == get_info) {
			uart = IN_ATTESA_IDENTIFICATIVO;
			ok = true;
		}
		break;
	case IN_ATTESA_IDENTIFICATIVO:
		if (c == padding) {
			ok = true;
			uart = IN_ATTESA_VALORE_1;
		}
		break;
	case IN_ATTESA_VALORE_1:
		if (c == padding) {
			ok = true;
			uart = IN_ATTESA_VALORE_2;
		}
		break;
	case IN_ATTESA_VALORE_2:
		if (c == padding) {
			ok = true;
			uart = IN_ATTESA_VALORE_3;
		}
		break;
	case IN_ATTESA_VALORE_3:
		if (c == padding) {
			ok = true;
			uart = IN_ATTESA_EOF;
		}
		break;
	case IN_ATTESA_EOF:
		if (c == eof) {
			uart = IN_ATTESA_SOF;
			ok = true;
		}
		break;
	}
	return ok;
}
/* USER CODE END 0 */

int main(void)
{

  /* MCU Configuration--------------------------------------------------------*/

  /* Reset of all peripherals, Initializes the Flash interface and the Systick. */
  HAL_Init();

  /* Configure the system clock */
  SystemClock_Config();

  /* Initialize all configured peripherals */
  MX_GPIO_Init();
  MX_USART2_UART_Init();
  MX_I2C1_Init();
  MX_TIM1_Init();
  MX_TIM3_Init();
  MX_TIM4_Init();
  MX_TIM5_Init();
  MX_TIM9_Init();
  MX_TIM10_Init();
  MX_TIM11_Init();
  /* USER CODE BEGIN 2 */
	init_peripherals();
	HAL_GPIO_WritePin(LED_ALARM_GPIO_Port, LED_ALARM_Pin, GPIO_PIN_SET);
	set_display_state();
	HAL_UART_Receive_IT(&huart2, &data_received, 1);
  /* USER CODE END 2 */

  /* Infinite loop */
	while (1)
	{

    /* USER CODE BEGIN 3 */
		read_keypad();
		if (HAL_GPIO_ReadPin(PIR_INTERNAL_LIGHT_GPIO_Port, PIR_INTERNAL_LIGHT_Pin) == GPIO_PIN_SET) {
			led_on();
			if (alarm == ALARM_DISATTIVO) {
				alarm = ALARM_ATTIVO;
				prepare_data_alarm(send_value);
				HAL_GPIO_WritePin(ACTIVE_BUZZER_GPIO_Port, ACTIVE_BUZZER_Pin, GPIO_PIN_SET);
				if (numpad != INATTIVO) {
					index_configurazione_inserita = 0;
					for (int i = 0; i < data_lenght; i++) {
						configurazione_inserita[i] = '\0';
					}
					HAL_GPIO_WritePin(LED_CONFIGURATION_GPIO_Port, LED_CONFIGURATION_Pin, GPIO_PIN_RESET);
				} else {
					numpad = ALLARME;
				}
			}
		}
		if (numpad == INATTIVO) {
			if (HAL_GetTick() - start_timer_display >= PERIOD_DISPLAY_INATTIVO) {
				start_timer_display = HAL_GetTick();
				set_display_state();
			}
		} else {
			if (numpad == END_CONFIGURAZIONE) {
				if (HAL_GetTick() - start_timer_display >= PERIOD_DISPLAY_CONFIGURAZIONE) {
					start_timer_display = HAL_GetTick();
					switch_to_inattivo();
				}
			}
		}
	}
  /* USER CODE END 3 */
}

void SystemClock_Config(void)
{
  RCC_OscInitTypeDef RCC_OscInitStruct = {0};
  RCC_ClkInitTypeDef RCC_ClkInitStruct = {0};

  /** Configure the main internal regulator output voltage
  */
  __HAL_RCC_PWR_CLK_ENABLE();
  __HAL_PWR_VOLTAGESCALING_CONFIG(PWR_REGULATOR_VOLTAGE_SCALE2);

  /** Initializes the RCC Oscillators according to the specified parameters
  * in the RCC_OscInitTypeDef structure.
  */
  RCC_OscInitStruct.OscillatorType = RCC_OSCILLATORTYPE_HSI|RCC_OSCILLATORTYPE_HSE;
  RCC_OscInitStruct.HSEState = RCC_HSE_BYPASS;
  RCC_OscInitStruct.HSIState = RCC_HSI_ON;
  RCC_OscInitStruct.HSICalibrationValue = RCC_HSICALIBRATION_DEFAULT;
  RCC_OscInitStruct.PLL.PLLState = RCC_PLL_ON;
  RCC_OscInitStruct.PLL.PLLSource = RCC_PLLSOURCE_HSI;
  RCC_OscInitStruct.PLL.PLLM = 16;
  RCC_OscInitStruct.PLL.PLLN = 336;
  RCC_OscInitStruct.PLL.PLLP = RCC_PLLP_DIV4;
  RCC_OscInitStruct.PLL.PLLQ = 7;
  if (HAL_RCC_OscConfig(&RCC_OscInitStruct) != HAL_OK)
  {
    Error_Handler();
  }

  /** Initializes the CPU, AHB and APB buses clocks
  */
  RCC_ClkInitStruct.ClockType = RCC_CLOCKTYPE_HCLK|RCC_CLOCKTYPE_SYSCLK
                              |RCC_CLOCKTYPE_PCLK1|RCC_CLOCKTYPE_PCLK2;
  RCC_ClkInitStruct.SYSCLKSource = RCC_SYSCLKSOURCE_PLLCLK;
  RCC_ClkInitStruct.AHBCLKDivider = RCC_SYSCLK_DIV1;
  RCC_ClkInitStruct.APB1CLKDivider = RCC_HCLK_DIV2;
  RCC_ClkInitStruct.APB2CLKDivider = RCC_HCLK_DIV1;

  if (HAL_RCC_ClockConfig(&RCC_ClkInitStruct, FLASH_LATENCY_2) != HAL_OK)
  {
    Error_Handler();
  }
}

static void MX_I2C1_Init(void)
{

  hi2c1.Instance = I2C1;
  hi2c1.Init.ClockSpeed = 100000;
  hi2c1.Init.DutyCycle = I2C_DUTYCYCLE_2;
  hi2c1.Init.OwnAddress1 = 0;
  hi2c1.Init.AddressingMode = I2C_ADDRESSINGMODE_7BIT;
  hi2c1.Init.DualAddressMode = I2C_DUALADDRESS_DISABLE;
  hi2c1.Init.OwnAddress2 = 0;
  hi2c1.Init.GeneralCallMode = I2C_GENERALCALL_DISABLE;
  hi2c1.Init.NoStretchMode = I2C_NOSTRETCH_DISABLE;
  if (HAL_I2C_Init(&hi2c1) != HAL_OK)
  {
    Error_Handler();
  }

}

static void MX_TIM1_Init(void)
{

  TIM_ClockConfigTypeDef sClockSourceConfig = {0};
  TIM_MasterConfigTypeDef sMasterConfig = {0};
  TIM_IC_InitTypeDef sConfigIC = {0};

  htim1.Instance = TIM1;
  htim1.Init.Prescaler = 84-1;
  htim1.Init.CounterMode = TIM_COUNTERMODE_UP;
  htim1.Init.Period = 65535;
  htim1.Init.ClockDivision = TIM_CLOCKDIVISION_DIV1;
  htim1.Init.RepetitionCounter = 0;
  htim1.Init.AutoReloadPreload = TIM_AUTORELOAD_PRELOAD_DISABLE;
  if (HAL_TIM_Base_Init(&htim1) != HAL_OK)
  {
    Error_Handler();
  }
  sClockSourceConfig.ClockSource = TIM_CLOCKSOURCE_INTERNAL;
  if (HAL_TIM_ConfigClockSource(&htim1, &sClockSourceConfig) != HAL_OK)
  {
    Error_Handler();
  }
  if (HAL_TIM_IC_Init(&htim1) != HAL_OK)
  {
    Error_Handler();
  }
  sMasterConfig.MasterOutputTrigger = TIM_TRGO_RESET;
  sMasterConfig.MasterSlaveMode = TIM_MASTERSLAVEMODE_DISABLE;
  if (HAL_TIMEx_MasterConfigSynchronization(&htim1, &sMasterConfig) != HAL_OK)
  {
    Error_Handler();
  }
  sConfigIC.ICPolarity = TIM_INPUTCHANNELPOLARITY_RISING;
  sConfigIC.ICSelection = TIM_ICSELECTION_DIRECTTI;
  sConfigIC.ICPrescaler = TIM_ICPSC_DIV1;
  sConfigIC.ICFilter = 0;
  if (HAL_TIM_IC_ConfigChannel(&htim1, &sConfigIC, TIM_CHANNEL_1) != HAL_OK)
  {
    Error_Handler();
  }

}

static void MX_TIM3_Init(void)
{

  TIM_MasterConfigTypeDef sMasterConfig = {0};
  TIM_OC_InitTypeDef sConfigOC = {0};

  htim3.Instance = TIM3;
  htim3.Init.Prescaler = 84-1;
  htim3.Init.CounterMode = TIM_COUNTERMODE_UP;
  htim3.Init.Period = 20000-1;
  htim3.Init.ClockDivision = TIM_CLOCKDIVISION_DIV1;
  htim3.Init.AutoReloadPreload = TIM_AUTORELOAD_PRELOAD_DISABLE;
  if (HAL_TIM_PWM_Init(&htim3) != HAL_OK)
  {
    Error_Handler();
  }
  sMasterConfig.MasterOutputTrigger = TIM_TRGO_RESET;
  sMasterConfig.MasterSlaveMode = TIM_MASTERSLAVEMODE_DISABLE;
  if (HAL_TIMEx_MasterConfigSynchronization(&htim3, &sMasterConfig) != HAL_OK)
  {
    Error_Handler();
  }
  sConfigOC.OCMode = TIM_OCMODE_PWM1;
  sConfigOC.Pulse = 0;
  sConfigOC.OCPolarity = TIM_OCPOLARITY_HIGH;
  sConfigOC.OCFastMode = TIM_OCFAST_DISABLE;
  if (HAL_TIM_PWM_ConfigChannel(&htim3, &sConfigOC, TIM_CHANNEL_2) != HAL_OK)
  {
    Error_Handler();
  }
  HAL_TIM_MspPostInit(&htim3);

}

static void MX_TIM4_Init(void)
{

  TIM_ClockConfigTypeDef sClockSourceConfig = {0};
  TIM_MasterConfigTypeDef sMasterConfig = {0};

  htim4.Instance = TIM4;
  htim4.Init.Prescaler = 8400-1;
  htim4.Init.CounterMode = TIM_COUNTERMODE_UP;
  htim4.Init.Period = 60000-1;
  htim4.Init.ClockDivision = TIM_CLOCKDIVISION_DIV1;
  htim4.Init.AutoReloadPreload = TIM_AUTORELOAD_PRELOAD_DISABLE;
  if (HAL_TIM_Base_Init(&htim4) != HAL_OK)
  {
    Error_Handler();
  }
  sClockSourceConfig.ClockSource = TIM_CLOCKSOURCE_INTERNAL;
  if (HAL_TIM_ConfigClockSource(&htim4, &sClockSourceConfig) != HAL_OK)
  {
    Error_Handler();
  }
  sMasterConfig.MasterOutputTrigger = TIM_TRGO_RESET;
  sMasterConfig.MasterSlaveMode = TIM_MASTERSLAVEMODE_DISABLE;
  if (HAL_TIMEx_MasterConfigSynchronization(&htim4, &sMasterConfig) != HAL_OK)
  {
    Error_Handler();
  }

}

static void MX_TIM5_Init(void)
{

  TIM_ClockConfigTypeDef sClockSourceConfig = {0};
  TIM_MasterConfigTypeDef sMasterConfig = {0};

  htim5.Instance = TIM5;
  htim5.Init.Prescaler = 84-1;
  htim5.Init.CounterMode = TIM_COUNTERMODE_UP;
  htim5.Init.Period = 10000000-1;
  htim5.Init.ClockDivision = TIM_CLOCKDIVISION_DIV1;
  htim5.Init.AutoReloadPreload = TIM_AUTORELOAD_PRELOAD_DISABLE;
  if (HAL_TIM_Base_Init(&htim5) != HAL_OK)
  {
    Error_Handler();
  }
  sClockSourceConfig.ClockSource = TIM_CLOCKSOURCE_INTERNAL;
  if (HAL_TIM_ConfigClockSource(&htim5, &sClockSourceConfig) != HAL_OK)
  {
    Error_Handler();
  }
  sMasterConfig.MasterOutputTrigger = TIM_TRGO_RESET;
  sMasterConfig.MasterSlaveMode = TIM_MASTERSLAVEMODE_DISABLE;
  if (HAL_TIMEx_MasterConfigSynchronization(&htim5, &sMasterConfig) != HAL_OK)
  {
    Error_Handler();
  }

}

static void MX_TIM9_Init(void)
{

  TIM_ClockConfigTypeDef sClockSourceConfig = {0};

  htim9.Instance = TIM9;
  htim9.Init.Prescaler = 84-1;
  htim9.Init.CounterMode = TIM_COUNTERMODE_UP;
  htim9.Init.Period = 1220-1;
  htim9.Init.ClockDivision = TIM_CLOCKDIVISION_DIV1;
  htim9.Init.AutoReloadPreload = TIM_AUTORELOAD_PRELOAD_DISABLE;
  if (HAL_TIM_Base_Init(&htim9) != HAL_OK)
  {
    Error_Handler();
  }
  sClockSourceConfig.ClockSource = TIM_CLOCKSOURCE_INTERNAL;
  if (HAL_TIM_ConfigClockSource(&htim9, &sClockSourceConfig) != HAL_OK)
  {
    Error_Handler();
  }

}

static void MX_TIM10_Init(void)
{

  htim10.Instance = TIM10;
  htim10.Init.Prescaler = 8400-1;
  htim10.Init.CounterMode = TIM_COUNTERMODE_UP;
  htim10.Init.Period = 60000-1;
  htim10.Init.ClockDivision = TIM_CLOCKDIVISION_DIV1;
  htim10.Init.AutoReloadPreload = TIM_AUTORELOAD_PRELOAD_DISABLE;
  if (HAL_TIM_Base_Init(&htim10) != HAL_OK)
  {
    Error_Handler();
  }

}

static void MX_TIM11_Init(void)
{

  TIM_IC_InitTypeDef sConfigIC = {0};

  htim11.Instance = TIM11;
  htim11.Init.Prescaler = 84-1;
  htim11.Init.CounterMode = TIM_COUNTERMODE_UP;
  htim11.Init.Period = 65535;
  htim11.Init.ClockDivision = TIM_CLOCKDIVISION_DIV1;
  htim11.Init.AutoReloadPreload = TIM_AUTORELOAD_PRELOAD_DISABLE;
  if (HAL_TIM_Base_Init(&htim11) != HAL_OK)
  {
    Error_Handler();
  }
  if (HAL_TIM_IC_Init(&htim11) != HAL_OK)
  {
    Error_Handler();
  }
  sConfigIC.ICPolarity = TIM_INPUTCHANNELPOLARITY_RISING;
  sConfigIC.ICSelection = TIM_ICSELECTION_DIRECTTI;
  sConfigIC.ICPrescaler = TIM_ICPSC_DIV1;
  sConfigIC.ICFilter = 0;
  if (HAL_TIM_IC_ConfigChannel(&htim11, &sConfigIC, TIM_CHANNEL_1) != HAL_OK)
  {
    Error_Handler();
  }

}

static void MX_USART2_UART_Init(void)
{

  huart2.Instance = USART2;
  huart2.Init.BaudRate = 115200;
  huart2.Init.WordLength = UART_WORDLENGTH_8B;
  huart2.Init.StopBits = UART_STOPBITS_1;
  huart2.Init.Parity = UART_PARITY_NONE;
  huart2.Init.Mode = UART_MODE_TX_RX;
  huart2.Init.HwFlowCtl = UART_HWCONTROL_NONE;
  huart2.Init.OverSampling = UART_OVERSAMPLING_16;
  if (HAL_UART_Init(&huart2) != HAL_OK)
  {
    Error_Handler();
  }

}

static void MX_GPIO_Init(void)
{
  GPIO_InitTypeDef GPIO_InitStruct = {0};

  /* GPIO Ports Clock Enable */
  __HAL_RCC_GPIOC_CLK_ENABLE();
  __HAL_RCC_GPIOH_CLK_ENABLE();
  __HAL_RCC_GPIOA_CLK_ENABLE();
  __HAL_RCC_GPIOB_CLK_ENABLE();
  __HAL_RCC_GPIOD_CLK_ENABLE();

  /*Configure GPIO pin Output Level */
  HAL_GPIO_WritePin(GPIOC, NUMPAD_R2_Pin|NUMPAD_R3_Pin|HC_SR04_OPEN_POSITION_TRIGGER_Pin|LED_INTERNAL_LIGHT_Pin
                          |LED_ALARM_Pin|LED_SLIDING_GATE_Pin, GPIO_PIN_RESET);

  /*Configure GPIO pin Output Level */
  HAL_GPIO_WritePin(GPIOB, ACTIVE_BUZZER_Pin|STEPPER_MOTOR_IN4_Pin|STEPPER_MOTOR_IN1_Pin|STEPPER_MOTOR_IN2_Pin
                          |STEPPER_MOTOR_IN3_Pin|HC_SR04_CLOSE_POSITION_TRIGGER_Pin, GPIO_PIN_RESET);

  /*Configure GPIO pin Output Level */
  HAL_GPIO_WritePin(GPIOA, NUMPAD_R0_Pin|NUMPAD_R1_Pin, GPIO_PIN_RESET);

  /*Configure GPIO pin Output Level */
  HAL_GPIO_WritePin(LED_CONFIGURATION_GPIO_Port, LED_CONFIGURATION_Pin, GPIO_PIN_RESET);

  /*Configure GPIO pins : BUTTON_CONFIGURATION_Pin BUTTON_SLIDING_GATE_FRONT_Pin BUTTON_SLIDING_GATE_RETRO_Pin BUTTON_DOOR_FRONT_Pin */
  GPIO_InitStruct.Pin = BUTTON_CONFIGURATION_Pin|BUTTON_SLIDING_GATE_FRONT_Pin|BUTTON_SLIDING_GATE_RETRO_Pin|BUTTON_DOOR_FRONT_Pin;
  GPIO_InitStruct.Mode = GPIO_MODE_IT_RISING;
  GPIO_InitStruct.Pull = GPIO_PULLDOWN;
  HAL_GPIO_Init(GPIOC, &GPIO_InitStruct);

  /*Configure GPIO pin : PIR_INTERNAL_LIGHT_Pin */
  GPIO_InitStruct.Pin = PIR_INTERNAL_LIGHT_Pin;
  GPIO_InitStruct.Mode = GPIO_MODE_INPUT;
  GPIO_InitStruct.Pull = GPIO_NOPULL;
  HAL_GPIO_Init(PIR_INTERNAL_LIGHT_GPIO_Port, &GPIO_InitStruct);

  /*Configure GPIO pin : BUTTON_DOOR_RETRO_Pin */
  GPIO_InitStruct.Pin = BUTTON_DOOR_RETRO_Pin;
  GPIO_InitStruct.Mode = GPIO_MODE_IT_RISING;
  GPIO_InitStruct.Pull = GPIO_PULLDOWN;
  HAL_GPIO_Init(BUTTON_DOOR_RETRO_GPIO_Port, &GPIO_InitStruct);

  /*Configure GPIO pin : NUMPAD_C3_Pin */
  GPIO_InitStruct.Pin = NUMPAD_C3_Pin;
  GPIO_InitStruct.Mode = GPIO_MODE_INPUT;
  GPIO_InitStruct.Pull = GPIO_PULLUP;
  HAL_GPIO_Init(NUMPAD_C3_GPIO_Port, &GPIO_InitStruct);

  /*Configure GPIO pins : NUMPAD_R2_Pin NUMPAD_R3_Pin HC_SR04_OPEN_POSITION_TRIGGER_Pin LED_INTERNAL_LIGHT_Pin
                           LED_ALARM_Pin LED_SLIDING_GATE_Pin */
  GPIO_InitStruct.Pin = NUMPAD_R2_Pin|NUMPAD_R3_Pin|HC_SR04_OPEN_POSITION_TRIGGER_Pin|LED_INTERNAL_LIGHT_Pin
                          |LED_ALARM_Pin|LED_SLIDING_GATE_Pin;
  GPIO_InitStruct.Mode = GPIO_MODE_OUTPUT_PP;
  GPIO_InitStruct.Pull = GPIO_NOPULL;
  GPIO_InitStruct.Speed = GPIO_SPEED_FREQ_LOW;
  HAL_GPIO_Init(GPIOC, &GPIO_InitStruct);

  /*Configure GPIO pins : ACTIVE_BUZZER_Pin STEPPER_MOTOR_IN4_Pin STEPPER_MOTOR_IN1_Pin STEPPER_MOTOR_IN2_Pin
                           STEPPER_MOTOR_IN3_Pin HC_SR04_CLOSE_POSITION_TRIGGER_Pin */
  GPIO_InitStruct.Pin = ACTIVE_BUZZER_Pin|STEPPER_MOTOR_IN4_Pin|STEPPER_MOTOR_IN1_Pin|STEPPER_MOTOR_IN2_Pin
                          |STEPPER_MOTOR_IN3_Pin|HC_SR04_CLOSE_POSITION_TRIGGER_Pin;
  GPIO_InitStruct.Mode = GPIO_MODE_OUTPUT_PP;
  GPIO_InitStruct.Pull = GPIO_NOPULL;
  GPIO_InitStruct.Speed = GPIO_SPEED_FREQ_LOW;
  HAL_GPIO_Init(GPIOB, &GPIO_InitStruct);

  /*Configure GPIO pin : PHOTO_INTERRUPTER_Pin */
  GPIO_InitStruct.Pin = PHOTO_INTERRUPTER_Pin;
  GPIO_InitStruct.Mode = GPIO_MODE_IT_RISING;
  GPIO_InitStruct.Pull = GPIO_NOPULL;
  HAL_GPIO_Init(PHOTO_INTERRUPTER_GPIO_Port, &GPIO_InitStruct);

  /*Configure GPIO pins : NUMPAD_C0_Pin NUMPAD_C1_Pin */
  GPIO_InitStruct.Pin = NUMPAD_C0_Pin|NUMPAD_C1_Pin;
  GPIO_InitStruct.Mode = GPIO_MODE_INPUT;
  GPIO_InitStruct.Pull = GPIO_PULLUP;
  HAL_GPIO_Init(GPIOC, &GPIO_InitStruct);

  /*Configure GPIO pins : NUMPAD_R0_Pin NUMPAD_R1_Pin */
  GPIO_InitStruct.Pin = NUMPAD_R0_Pin|NUMPAD_R1_Pin;
  GPIO_InitStruct.Mode = GPIO_MODE_OUTPUT_PP;
  GPIO_InitStruct.Pull = GPIO_NOPULL;
  GPIO_InitStruct.Speed = GPIO_SPEED_FREQ_LOW;
  HAL_GPIO_Init(GPIOA, &GPIO_InitStruct);

  /*Configure GPIO pin : LED_CONFIGURATION_Pin */
  GPIO_InitStruct.Pin = LED_CONFIGURATION_Pin;
  GPIO_InitStruct.Mode = GPIO_MODE_OUTPUT_PP;
  GPIO_InitStruct.Pull = GPIO_NOPULL;
  GPIO_InitStruct.Speed = GPIO_SPEED_FREQ_LOW;
  HAL_GPIO_Init(LED_CONFIGURATION_GPIO_Port, &GPIO_InitStruct);

  /*Configure GPIO pin : NUMPAD_C2_Pin */
  GPIO_InitStruct.Pin = NUMPAD_C2_Pin;
  GPIO_InitStruct.Mode = GPIO_MODE_INPUT;
  GPIO_InitStruct.Pull = GPIO_PULLUP;
  HAL_GPIO_Init(NUMPAD_C2_GPIO_Port, &GPIO_InitStruct);

  /* EXTI interrupt init*/
  HAL_NVIC_SetPriority(EXTI0_IRQn, 0, 0);
  HAL_NVIC_EnableIRQ(EXTI0_IRQn);

  HAL_NVIC_SetPriority(EXTI1_IRQn, 0, 0);
  HAL_NVIC_EnableIRQ(EXTI1_IRQn);

  HAL_NVIC_SetPriority(EXTI2_IRQn, 0, 0);
  HAL_NVIC_EnableIRQ(EXTI2_IRQn);

  HAL_NVIC_SetPriority(EXTI3_IRQn, 0, 0);
  HAL_NVIC_EnableIRQ(EXTI3_IRQn);

  HAL_NVIC_SetPriority(EXTI4_IRQn, 0, 0);
  HAL_NVIC_EnableIRQ(EXTI4_IRQn);

  HAL_NVIC_SetPriority(EXTI15_10_IRQn, 0, 0);
  HAL_NVIC_EnableIRQ(EXTI15_10_IRQn);

}

/* USER CODE BEGIN 4 */
void init_peripherals() {
	init_lcd();
	init_keypad();
	init_step_motor();
}

void init_lcd() {
	lcd_init();
	lcd_clear();
	lcd_put_cur(0, 0);
}

void init_keypad() {
	KeyPad_Init();
}

void init_step_motor() {
	stepsperrev = 4096;
	rpm = 12;
	angle = 22.5;
	numofsequence = 512;
	angleperseq = 360.0 / (float)numofsequence;
	numberofsequences = angle / angleperseq;
	sliding_gate = CHIUSO;
}

void HAL_GPIO_EXTI_Callback(uint16_t GPIO_Pin) {
	if (GPIO_Pin == BUTTON_DOOR_FRONT_Pin ||
			GPIO_Pin == BUTTON_DOOR_RETRO_Pin) {
		open_door();
	} else {
		if (GPIO_Pin == BUTTON_SLIDING_GATE_FRONT_Pin ||
				GPIO_Pin == BUTTON_SLIDING_GATE_RETRO_Pin) {
			if (sliding_gate == CHIUSO) {
				open_sliding_gate();
			}
		} else {
			if (GPIO_Pin == BUTTON_CONFIGURATION_Pin) {
				if (numpad == INATTIVO) {
					numpad = CONFIGURAZIONE;
					start_timer_display = HAL_GetTick();
					set_display_configuration();
					HAL_GPIO_WritePin(LED_CONFIGURATION_GPIO_Port, LED_CONFIGURATION_Pin, GPIO_PIN_SET);
				}
			} else {
				if (GPIO_Pin == PHOTO_INTERRUPTER_Pin) {
					change_direction_sliding_gate();
				}
			}

		}
	}
}

void HAL_TIM_PeriodElapsedCallback(TIM_HandleTypeDef *htim) {
	if (htim == &htim1) {
		if (timer_1 == SETUP) {
			timer_1 = TIMER;
		} else {
			if (timer_1 == TIMER) {
				if (hc_sr04_open_position == DELAY) {
					start_sampling_hcsr04(&htim1);
				}
			}
		}
	} else {
		if (htim == &htim4) {
			if (timer_4 == SETUP) {
				timer_4 = TIMER;
			} else {
				if (timer_4 == TIMER) {
					start_closing_sliding_gate();
				}
			}
		} else {
			if (htim == &htim5) {
				if (timer_5 == SETUP) {
					timer_5 = TIMER;
				} else {
					if (timer_5 == TIMER) {
						led_off();
					}
				}
			} else {
				if (htim == &htim9) {
					if (timer_9 ==  SETUP) {
						timer_9 = TIMER;
					} else {
						if (timer_9 == TIMER) {
							stepper_half_drive(step);
						}
					}
				} else {
					if (htim == &htim10) {
						if (timer_10 == SETUP) {
							timer_10 = TIMER;
						} else {
							if (timer_10 == TIMER) {
								process_door();
							}
						}
					} else {
						if (htim == &htim11) {
							if (timer_11 == SETUP) {
								timer_11 = TIMER;
							} else {
								if (timer_11 == TIMER) {
									if (hc_sr04_close_position == DELAY) {
										start_sampling_hcsr04(&htim11);
									}
								}
							}
						}
					}
				}
			}
		}
	}
}

void HAL_TIM_IC_CaptureCallback(TIM_HandleTypeDef *htim) {
	if (htim == &htim11) {
		if (htim->Channel == HAL_TIM_ACTIVE_CHANNEL_1) {
			if (is_first_captured_close_position == 0) {
				ic_val1_close_position = HAL_TIM_ReadCapturedValue(htim, TIM_CHANNEL_1);
				is_first_captured_close_position = 1;
				__HAL_TIM_SET_CAPTUREPOLARITY(htim, TIM_CHANNEL_1, TIM_INPUTCHANNELPOLARITY_FALLING);
			} else {
				if (is_first_captured_close_position == 1) {
					uint32_t difference = 0;
					ic_val2_close_position = HAL_TIM_ReadCapturedValue(htim, TIM_CHANNEL_1);
					__HAL_TIM_SET_COUNTER(htim, 0);
					if (ic_val2_close_position > ic_val1_close_position) {
						difference = ic_val2_close_position - ic_val1_close_position;
					} else {
						if (ic_val1_close_position > ic_val2_close_position) {
							difference = (0xffff - ic_val1_close_position) + ic_val2_close_position;
						}
					}
					uint32_t distance = 0;
					distance = difference * .034/2;
					is_first_captured_close_position = 0;
					__HAL_TIM_SET_CAPTUREPOLARITY(htim, TIM_CHANNEL_1, TIM_INPUTCHANNELPOLARITY_RISING);
					__HAL_TIM_DISABLE_IT(htim, TIM_IT_CC1);
					if (distance < distance_close_position) {
						stop_sliding_gate();
					} else {
						hc_sr04_close_position = DELAY;
						HCSR04_Read(HC_SR04_CLOSE_POSITION_TRIGGER_GPIO_Port, HC_SR04_CLOSE_POSITION_TRIGGER_Pin);
					}
				}
			}
		}
	} else {
		if (htim == &htim1) {
			if (htim->Channel == HAL_TIM_ACTIVE_CHANNEL_1) {
				if (is_first_captured_open_position == 0) {
					ic_val1_open_position = HAL_TIM_ReadCapturedValue(htim, TIM_CHANNEL_1);
					is_first_captured_open_position = 1;
					__HAL_TIM_SET_CAPTUREPOLARITY(htim, TIM_CHANNEL_1, TIM_INPUTCHANNELPOLARITY_FALLING);
				} else {
					if (is_first_captured_open_position == 1) {
						uint32_t difference = 0;
						ic_val2_open_position = HAL_TIM_ReadCapturedValue(htim, TIM_CHANNEL_1);
						__HAL_TIM_SET_COUNTER(htim, 0);
						if (ic_val2_open_position > ic_val1_open_position) {
							difference = ic_val2_open_position - ic_val1_open_position;
						} else {
							if (ic_val1_open_position > ic_val2_open_position) {
								difference = (0xffff - ic_val1_open_position) + ic_val2_open_position;
							}
						}
						uint32_t distance = 0;
						distance = difference * .034/2;
						is_first_captured_open_position = 0;
						__HAL_TIM_SET_CAPTUREPOLARITY(htim, TIM_CHANNEL_1, TIM_INPUTCHANNELPOLARITY_RISING);
						__HAL_TIM_DISABLE_IT(htim, TIM_IT_CC1);
						if (distance < distance_open_position) {
							close_sliding_gate();
						} else {
							hc_sr04_open_position = DELAY;
							HCSR04_Read(HC_SR04_OPEN_POSITION_TRIGGER_GPIO_Port, HC_SR04_OPEN_POSITION_TRIGGER_Pin);
						}
					}
				}
			}
		}
	}
}

void HAL_UART_RxCpltCallback(UART_HandleTypeDef *huart) {
	if (huart == &huart2) {
		if (process_data(data_received)) {
			receive_byte[index_byte] = data_received;
			index_byte++;
			if (index_byte == num_byte) {
				index_byte = 0;
				prepare_data_sliding_gate(get_info);
				prepare_data_internal_light(get_info);
				prepare_data_door(get_info);
				prepare_data_alarm(get_info);
				prepare_data_configuration_sliding_gate(get_info);
				prepare_data_configuration_internal_light(get_info);
				prepare_data_configuration_door(get_info);
			}
		} else {
			uart = IN_ATTESA_SOF;
			index_byte = 0;
		}
		HAL_UART_Receive_IT(&huart2, &data_received, 1);
	}
}
/* USER CODE END 4 */

void Error_Handler(void)
{
	__disable_irq();
	while (1)
	{
	}
}
